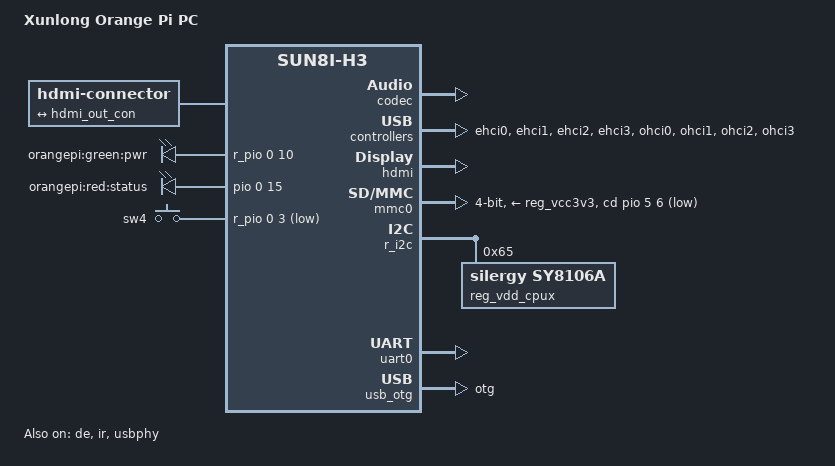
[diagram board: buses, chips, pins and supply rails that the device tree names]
FASTVC-BENCH-CORPUS:linux-main-100k-v1-e0bd41dc-8e12-4f1b-978d-a3645ae59da0
/*
 * Copyright (C) 2015 Chen-Yu Tsai <wens@csie.org>
 *
 * This file is dual-licensed: you can use it either under the terms
 * of the GPL or the X11 license, at your option. Note that this dual
 * licensing only applies to this file, and not this project as a
 * whole.
 *
 *  a) This file is free software; you can redistribute it and/or
 *     modify it under the terms of the GNU General Public License as
 *     published by the Free Software Foundation; either version 2 of the
 *     License, or (at your option) any later version.
 *
 *     This file is distributed in the hope that it will be useful,
 *     but WITHOUT ANY WARRANTY; without even the implied warranty of
 *     MERCHANTABILITY or FITNESS FOR A PARTICULAR PURPOSE.  See the
 *     GNU General Public License for more details.
 *
 * Or, alternatively,
 *
 *  b) Permission is hereby granted, free of charge, to any person
 *     obtaining a copy of this software and associated documentation
 *     files (the "Software"), to deal in the Software without
 *     restriction, including without limitation the rights to use,
 *     copy, modify, merge, publish, distribute, sublicense, and/or
 *     sell copies of the Software, and to permit persons to whom the
 *     Software is furnished to do so, subject to the following
 *     conditions:
 *
 *     The above copyright notice and this permission notice shall be
 *     included in all copies or substantial portions of the Software.
 *
 *     THE SOFTWARE IS PROVIDED "AS IS", WITHOUT WARRANTY OF ANY KIND,
 *     EXPRESS OR IMPLIED, INCLUDING BUT NOT LIMITED TO THE WARRANTIES
 *     OF MERCHANTABILITY, FITNESS FOR A PARTICULAR PURPOSE AND
 *     NONINFRINGEMENT. IN NO EVENT SHALL THE AUTHORS OR COPYRIGHT
 *     HOLDERS BE LIABLE FOR ANY CLAIM, DAMAGES OR OTHER LIABILITY,
 *     WHETHER IN AN ACTION OF CONTRACT, TORT OR OTHERWISE, ARISING
 *     FROM, OUT OF OR IN CONNECTION WITH THE SOFTWARE OR THE USE OR
 *     OTHER DEALINGS IN THE SOFTWARE.
 */

/dts-v1/;
#include "sun8i-h3.dtsi"
#include "sunxi-common-regulators.dtsi"

#include <dt-bindings/gpio/gpio.h>
#include <dt-bindings/input/input.h>

/ {
	model = "Xunlong Orange Pi PC";
	compatible = "xunlong,orangepi-pc", "allwinner,sun8i-h3";

	aliases {
		ethernet0 = &emac;
		serial0 = &uart0;
	};

	chosen {
		stdout-path = "serial0:115200n8";
	};

	connector {
		compatible = "hdmi-connector";
		type = "a";

		port {
			hdmi_con_in: endpoint {
				remote-endpoint = <&hdmi_out_con>;
			};
		};
	};

	leds {
		compatible = "gpio-leds";

		pwr_led {
			label = "orangepi:green:pwr";
			gpios = <&r_pio 0 10 GPIO_ACTIVE_HIGH>;
			default-state = "on";
		};

		status_led {
			label = "orangepi:red:status";
			gpios = <&pio 0 15 GPIO_ACTIVE_HIGH>;
		};
	};

	r_gpio_keys {
		compatible = "gpio-keys";

		sw4 {
			label = "sw4";
			linux,code = <BTN_0>;
			gpios = <&r_pio 0 3 GPIO_ACTIVE_LOW>;
		};
	};
};

&codec {
	allwinner,audio-routing =
		"Line Out", "LINEOUT",
		"MIC1", "Mic",
		"Mic",  "MBIAS";
	status = "okay";
};

&de {
	status = "okay";
};

&cpu0 {
	cpu-supply = <&reg_vdd_cpux>;
};

&ehci0 {
	status = "okay";
};

&ehci1 {
	status = "okay";
};

&ehci2 {
	status = "okay";
};

&ehci3 {
	status = "okay";
};
/* bench 2553.0.0 e450d97aa172 */
/* bench 2553.0.1 35d1318f5a8e */
/* bench 2553.0.2 5eaf70252359 */
/* bench 2553.0.3 713eb64478d6 */
/* bench 2553.0.4 7600d6e34d87 */
/* bench 2553.0.5 ada4717f6668 */
/* bench 2553.0.6 ae2b02f32bf4 */
/* bench 2553.0.7 acabc9f00d80 */
/* bench 2553.0.8 9ee61512b49c */
/* bench 2553.0.9 31fb2b390d95 */
/* bench 2553.0.10 bceeee57c486 */
/* bench 2508.0.1 655586ed6653 */
/* bench 2508.0.2 8c36afa60a6c */
/* bench 2508.0.3 8059167279e9 */
/* bench 12305.1.0 1b1ecdc0ab82 */
/* bench 12305.1.1 ffbe6db4aad4 */
/* bench 2508.0.5 18a31c48025a */
/* bench 2508.0.6 fcad3a20b6f1 */
/* bench 2508.0.7 b2e542d8a293 */
/* bench 2508.0.8 a36ebe1fd565 */
/* bench 2508.0.9 0bf47ec15ee9 */
/* bench 2508.0.10 759e756f71ea */
/* bench 2508.0.11 ff572e75b90d */
	status = "okay";
};

&hdmi {
	status = "okay";
};

&hdmi_out {
	hdmi_out_con: endpoint {
		remote-endpoint = <&hdmi_con_in>;
	};
};

&ir {
	pinctrl-names = "default";
	pinctrl-0 = <&r_ir_rx_pin>;
	status = "okay";
};

&mmc0 {
	vmmc-supply = <&reg_vcc3v3>;
	bus-width = <4>;
	cd-gpios = <&pio 5 6 GPIO_ACTIVE_LOW>; /* PF6 */
	status = "okay";
};

&ohci0 {
	status = "okay";
};

&ohci1 {
	status = "okay";
};

&ohci2 {
	status = "okay";
};

&ohci3 {
	status = "okay";
};

&r_i2c {
	status = "okay";

	reg_vdd_cpux: regulator@65 {
		compatible = "silergy,sy8106a";
		reg = <0x65>;
		regulator-name = "vdd-cpux";
		silergy,fixed-microvolt = <1200000>;
		/*
		 * The datasheet uses 1.1V as the minimum value of VDD-CPUX,
		 * however both the Armbian DVFS table and the official one
		 * have operating points with voltage under 1.1V, and both
		 * DVFS table are known to work properly at the lowest
		 * operating point.
		 *
		 * Use 1.0V as the minimum voltage instead.
		 */
		regulator-min-microvolt = <1000000>;
		regulator-max-microvolt = <1300000>;
		regulator-boot-on;
		regulator-always-on;
	};
};

&reg_usb0_vbus {
	gpio = <&r_pio 0 2 GPIO_ACTIVE_HIGH>; /* PL2 */
	status = "okay";
};

&uart0 {
	pinctrl-names = "default";
	pinctrl-0 = <&uart0_pa_pins>;
	status = "okay";
};

&uart1 {
	pinctrl-names = "default";
	pinctrl-0 = <&uart1_pins>;
	status = "disabled";
};

&uart2 {
	pinctrl-names = "default";
	pinctrl-0 = <&uart2_pins>;
	status = "disabled";
};

&uart3 {
	pinctrl-names = "default";
	pinctrl-0 = <&uart3_pins>;
	status = "disabled";
};

&usb_otg {
	dr_mode = "otg";
	status = "okay";
};

&usbphy {
	usb0_id_det-gpios = <&pio 6 12 GPIO_ACTIVE_HIGH>; /* PG12 */
	usb0_vbus-supply = <&reg_usb0_vbus>;
	/* VBUS on USB host ports are always on */
	status = "okay";
};
